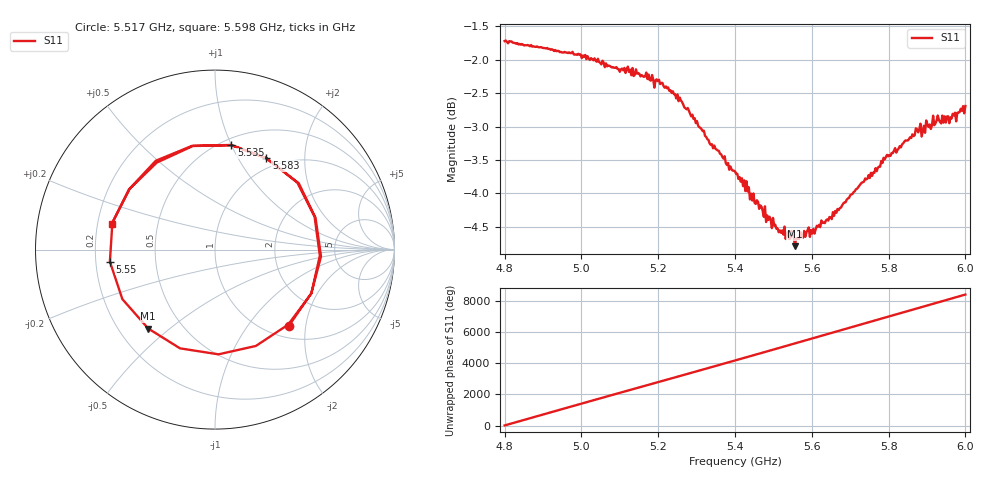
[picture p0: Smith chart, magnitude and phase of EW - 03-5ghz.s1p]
! NanoVNA-App
! Date: 2026-05-22 16:01:09
! Start: 4.8GHz Stop: 6GHz Points: 401
! S-Parameter data: F S11
# Hz S RI R 50
!  Frequency  S11_Real  S11_Imag
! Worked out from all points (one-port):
!   401 points, 4.8 GHz to 6 GHz, reference 50 ohm
!   lowest |S11| = -4.8 dB at 5.556 GHz (marker M1), VSWR 3.72, Z = 16.1 - j21.2 ohm
!   |S11| at or under -10 dB: nowhere
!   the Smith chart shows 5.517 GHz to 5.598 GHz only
!   S11 on the Smith chart (normalised r, x): 5.517 GHz: 1.23, -1.61; 5.535 GHz: 0.56, +1.00; 5.55 GHz: 0.26, -0.05; 5.583 GHz: 0.85, +1.33; 5.598 GHz: 0.26, +0.12
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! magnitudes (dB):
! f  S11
! 4.8 GHz  -1.7
! 4.95 GHz  -1.9
! 4.992 GHz  -1.9
! 5.1 GHz  -2.2
! 5.127 GHz  -2.1
! 5.202 GHz  -2.3
! 5.25 GHz  -2.5
! 5.283 GHz  -2.8
! 5.337 GHz  -3.3
! 5.4 GHz  -3.7
! 5.481 GHz  -4.4
! 5.517 GHz  -4.6
! 5.535 GHz  -4.6
! 5.55 GHz  -4.6
! 5.556 GHz  -4.8
! 5.562 GHz  -4.7
! 5.583 GHz  -4.7
! 5.598 GHz  -4.6
! 5.646 GHz  -4.4
! 5.7 GHz  -4.0
! 5.763 GHz  -3.7
! 5.793 GHz  -3.5
! 5.85 GHz  -3.2
! 5.877 GHz  -3.1
! 5.889 GHz  -3.1
! 5.922 GHz  -3.0
! 5.964 GHz  -2.9
! 6 GHz  -2.7
